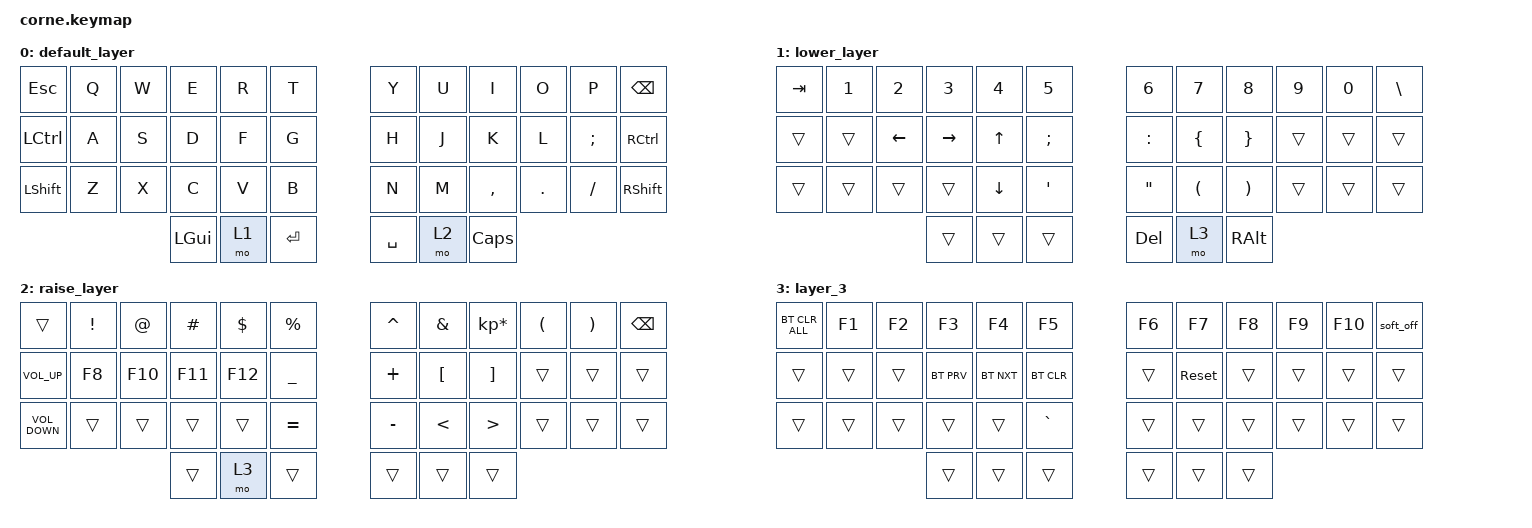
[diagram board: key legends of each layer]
/*
 * Copyright (c) 2020 The ZMK Contributors
 *
 * SPDX-License-Identifier: MIT
 */

#include <behaviors.dtsi>
#include <dt-bindings/zmk/backlight.h>
#include <dt-bindings/zmk/bt.h>
#include <dt-bindings/zmk/keys.h>

/ {
    behaviors {
        kp_or_layer: kp_or_layer {
            compatible = "zmk,behavior-hold-tap";
            label = "KP_OR_LAYER";
            bindings = <&lt>, <&bl>;

            #binding-cells = <2>;
            tapping-term-ms = <150>;
        };
    };

    keymap {
        compatible = "zmk,keymap";

        default_layer {
            // -----------------------------------------------------------------------------------------
            // |  TAB |  Q  |  W  |  E  |  R  |  T  |   |  Y  |  U   |  I  |  O  |  P  | BKSP |
            // | CTRL |  A  |  S  |  D  |  F  |  G  |   |  H  |  J   |  K  |  L  |  ;  |  '   |
            // | SHFT |  Z  |  X  |  C  |  V  |  B  |   |  N  |  M   |  ,  |  .  |  /  | ESC  |
            //                    | GUI | LWR | SPC |   | ENT | RSE  | ALT |

            bindings = <
&kp ESC    &kp Q  &kp W  &kp E     &kp R  &kp T        &kp Y      &kp U  &kp I         &kp O    &kp P     &kp BSPC
&kp LCTRL  &kp A  &kp S  &kp D     &kp F  &kp G        &kp H      &kp J  &kp K         &kp L    &kp SEMI  &kp RIGHT_CONTROL
&kp LSHFT  &kp Z  &kp X  &kp C     &kp V  &kp B        &kp N      &kp M  &kp COMMA     &kp DOT  &kp FSLH  &kp RIGHT_SHIFT
                         &kp LGUI  &mo 1  &kp ENTER    &kp SPACE  &mo 2  &kp CAPSLOCK
            >;
        };

        lower_layer {
            // -----------------------------------------------------------------------------------------
            // |  TAB |  1  |  2  |  3  |  4  |  5  |   |  6  |  7  |  8  |  9  |  0  | BKSP |
            // | BTCLR| BT1 | BT2 | BT3 | BT4 | BT5 |   | LFT | DWN |  UP | RGT |     |      |
            // | SHFT |     |     |     |     |     |   |     |     |     |     |     |      |
            //                    | GUI |     | SPC |   | ENT |     | ALT |

            bindings = <
&kp TAB  &kp N1  &kp N2          &kp N3           &kp N4          &kp N5              &kp N6             &kp N7                &kp N8                 &kp N9  &kp N0  &kp BACKSLASH
&trans   &trans  &kp LEFT_ARROW  &kp RIGHT_ARROW  &kp UP_ARROW    &kp SEMI            &kp COLON          &kp LEFT_BRACE        &kp RIGHT_BRACE        &trans  &trans  &trans
&trans   &trans  &trans          &trans           &kp DOWN_ARROW  &kp SINGLE_QUOTE    &kp DOUBLE_QUOTES  &kp LEFT_PARENTHESIS  &kp RIGHT_PARENTHESIS  &trans  &trans  &trans
                                 &trans           &trans          &trans              &kp DELETE         &mo 3                 &kp RALT
            >;
        };

        raise_layer {
            // -----------------------------------------------------------------------------------------
            // |  TAB |  !  |  @  |  #  |  $  |  %  |   |  ^  |  &  |  *  |  (  |  )  | BKSP |
            // | CTRL |     |     |     |     |     |   |  -  |  =  |  [  |  ]  |  \  |  `   |
            // | SHFT |     |     |     |     |     |   |  _  |  +  |  {  |  }  | "|" |  ~   |
            //                    | GUI |     | SPC |   | ENT |     | ALT |

            bindings = <
&trans             &kp EXCL  &kp AT   &kp HASH  &kp DLLR  &kp PRCNT         &kp CARET  &kp AMPS          &kp KP_MULTIPLY    &kp LPAR  &kp RPAR  &kp BSPC
&kp C_VOLUME_UP    &kp F8    &kp F10  &kp F11   &kp F12   &kp UNDERSCORE    &kp PLUS   &kp LEFT_BRACKET  &kp RIGHT_BRACKET  &trans    &trans    &trans
&kp C_VOLUME_DOWN  &trans    &trans   &trans    &trans    &kp EQUAL         &kp MINUS  &kp LESS_THAN     &kp GREATER_THAN   &trans    &trans    &trans
                                      &trans    &mo 3     &trans            &trans     &trans            &trans
            >;
        };

        layer_3 {
            bindings = <
&bt BT_CLR_ALL  &kp F1  &kp F2  &kp F3      &kp F4      &kp F5        &kp F6  &kp F7      &kp F8  &kp F9  &kp F10  &soft_off
&trans          &trans  &trans  &bt BT_PRV  &bt BT_NXT  &bt BT_CLR    &trans  &sys_reset  &trans  &trans  &trans   &trans
&trans          &trans  &trans  &trans      &trans      &kp GRAVE     &trans  &trans      &trans  &trans  &trans   &trans
                                &trans      &trans      &trans        &trans  &trans      &trans
            >;
        };
    };
};
